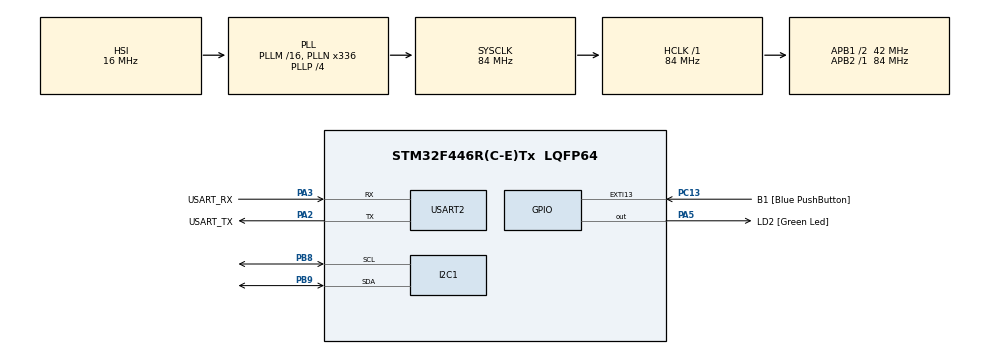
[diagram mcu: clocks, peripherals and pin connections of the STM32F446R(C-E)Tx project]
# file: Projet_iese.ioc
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I2C1.I2C_Mode=I2C_Fast
Mcu.Family=STM32F4
Mcu.Name=STM32F446R(C-E)Tx
Mcu.Package=LQFP64
NVIC.PriorityGroup=NVIC_PRIORITYGROUP_0
PA13.GPIO_Label=TMS
PA13.Mode=Serial_Wire
PA13.Signal=SYS_JTMS-SWDIO
PA14.GPIO_Label=TCK
PA14.Mode=Serial_Wire
PA14.Signal=SYS_JTCK-SWCLK
PA2.GPIO_Label=USART_TX
PA2.Mode=Asynchronous
PA2.Signal=USART2_TX
PA3.GPIO_Label=USART_RX
PA3.Mode=Asynchronous
PA3.Signal=USART2_RX
PA5.GPIO_Label=LD2 [Green Led]
PA5.Signal=GPIO_Output
PB3.GPIO_Label=SWO
PB3.Signal=SYS_JTDO-SWO
PB8.Mode=I2C
PB8.Signal=I2C1_SCL
PB9.Mode=I2C
PB9.Signal=I2C1_SDA
PC13.GPIO_Label=B1 [Blue PushButton]
PC13.GPIO_ModeDefaultEXTI=GPIO_MODE_IT_FALLING
PC13.Signal=GPXTI13
PC14-OSC32_IN.Mode=LSE-External-Oscillator
PC14-OSC32_IN.Signal=RCC_OSC32_IN
PC15-OSC32_OUT.Mode=LSE-External-Oscillator
PC15-OSC32_OUT.Signal=RCC_OSC32_OUT
PH0-OSC_IN.Mode=HSE-External-Oscillator
PH0-OSC_IN.Signal=RCC_OSC_IN
PH1-OSC_OUT.Mode=HSE-External-Oscillator
PH1-OSC_OUT.Signal=RCC_OSC_OUT
ProjectManager.HeapSize=0x200
ProjectManager.StackSize=0x400
ProjectManager.TargetToolchain=STM32CubeIDE
RCC.48MHZClocksFreq_Value=84000000
RCC.AHBFreq_Value=84000000
RCC.APB1CLKDivider=RCC_HCLK_DIV2
RCC.APB1Freq_Value=42000000
RCC.APB1TimFreq_Value=84000000
RCC.APB2Freq_Value=84000000
RCC.APB2TimFreq_Value=84000000
RCC.CortexFreq_Value=84000000
RCC.FLatency-AdvancedSettings=FLASH_LATENCY_2
RCC.HCLKFreq_Value=84000000
RCC.HSE_VALUE=8000000
RCC.HSI_VALUE=16000000
RCC.PLLN=336
RCC.PLLP=RCC_PLLP_DIV4
RCC.SYSCLKFreq_VALUE=84000000
RCC.SYSCLKSource=RCC_SYSCLKSOURCE_PLLCLK
RCC.USBFreq_Value=168000000
RCC.VCOOutputFreq_Value=336000000
USART2.VirtualMode=VM_ASYNC
board=NUCLEO-F446RE

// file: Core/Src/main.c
/* USER CODE BEGIN Header */
/*VILLETTE Lou-Anne & CALDEIRA Quentin*/
/* USER CODE END Header */
#include "main.h"
#include "i2c.h"
#include "usart.h"
#include "gpio.h"
#include <math.h>

/* USER CODE BEGIN PD */
#define ACC_ADR 		0x32 //Adresse i2c de l'acceloremetre
#define MAG_ADR 		0x3C //Adresse i2c du magnetometre
#define WHO_AM_I_A 		0x0F//Adresse contenant le WHOAMI de ACC
#define WHO_AM_I_M		0x4F//Adresse contenant le WHOAMI de MAG

#define CTRL_REG1_A 	0x20//Valeur contenant le premier registre de controle de ACC. Les autres ne sont pas nécessaires car nous allons faire une écriture multiple
#define CTRL_REG5_A 	0x24//Valeur contenant le registre 5 de controle de ACC, permettant le REBOOT
#define OUT_X_L_A		0x28//Valeur contenant le registre de sortie des valeurs de ACC

#define CTRL_REG_A_M 	0x60//Valeur contenant le premier registre de controle de MAG. Les autres ne sont pas nécessaires car nous allons faire une écriture multiple
#define	OUTX_L_REG_M	0x68//Valeur contenant registre de sortie des valeurs de MAG

#define SUB_INCREMENT   0x80//Masque pour autoriser l'incrément des sous registres (écriture multiple)

/* USER CODE END PD */

/* USER CODE BEGIN PV */
//structure contenant les axes en INT
struct data_meas {
  int16_t X;
  int16_t Y;
  int16_t Z;
};

//structure contenant les axes en FLOAT
struct data_real {
  float X;
  float Y;
  float Z;
};

//structure contenant les angles en FLOAT
struct angle {
  float theta;
  float psi;
  float phi;
  float delta;
};

/* USER CODE END PV */

void SystemClock_Config(void);

/* USER CODE BEGIN 0 */

/*------------Fonction permettant de relier le printf et l'uart---------------*/
int __io_putchar(int ch) {
	uint8_t c = ch & 0x00FF;
	HAL_UART_Transmit(&huart2, &c, 1, 10);
	return ch;
}
/*----------------------------------------------------------------------------*/

/*---Fonction permettant d'attester la présence du magneto et de l'accelero---*/
int who_am_i_sensors(){
	uint8_t buf[1];                                                              //Buffer de 1 octet car on ne lit que une case mémoire
	HAL_StatusTypeDef ret;                                                       //Variable HAL permettant de voir l'état de la transmission I2C
	buf[0] = WHO_AM_I_A;                                                         //On affecte l'adresse de la case mémoire stockant WHOAMI pour l'accelero
	ret = HAL_I2C_Master_Transmit(&hi2c1, ACC_ADR, buf, 1, HAL_MAX_DELAY);       //On effectue la transmission sur l'accelero
	if ( ret != HAL_OK ) {                                                       //Si la transmission s'est mal passée, on affiche une erreur
		printf("Error Tx\r\n");
	}
	else {
	    ret = HAL_I2C_Master_Receive(&hi2c1, ACC_ADR, buf, 1, HAL_MAX_DELAY);     //Sinon, on recupere la valeur dans la case memoire
	    if ( ret != HAL_OK ) {                                                    //Si la réception s'est mal passée, on affiche une erreur
	      printf("Error Rx\r\n");
	    }
	    else {
	    	if ( buf[0]==0x33 ) {                                                 //On teste si la valeur présente dans la case memoire est identique à celle indiquée dans la doc
	        printf("Detection de accelerometre \n\r");
	    	}
	    }
  }
  buf[0] = WHO_AM_I_M;                                                             //On affecte l'adresse de la case mémoire du WHOAMI pour le magneto
  ret = HAL_I2C_Master_Transmit(&hi2c1, MAG_ADR, buf, 1, HAL_MAX_DELAY);           //On effectue la transmission sur le magneto
  if ( ret != HAL_OK ) {                                                           //Si la transmission s'est mal passée, on affiche une erreur
	  printf("Error Tx\r\n");
  }
  else {
  	ret = HAL_I2C_Master_Receive(&hi2c1, MAG_ADR, buf, 1, HAL_MAX_DELAY);          //Sinon, on recupere la valeur dans la case memoire
  	if ( ret != HAL_OK ) {                                                          //Si la réception s'est mal passée, on affiche une erreur
  	  printf("Error Rx\r\n");
  	}
    else {
    	if ( buf[0]==0x40 ) {                                                        //On teste si la valeur présente dans la case memoire est identique à celle indiquée dans la doc
    		printf("Detection de magneto \n\r");
    	}
    }
  }
}

int reset_acc(){
	uint8_t buf[2];																	//Buffer de 2 octets car on dirige la mémoire puis on écrit une valeur
	HAL_StatusTypeDef ret;
	buf[0] = CTRL_REG5_A;  															//L'adresse où écrire sera CTRL_REG_5
 	buf[1]=0x80;  																	//Data de reset, 1 logique sur BOOT
	ret = HAL_I2C_Master_Transmit(&hi2c1, ACC_ADR, buf, 2, HAL_MAX_DELAY);			//On teste si la transmission se passe bien
	if ( ret != HAL_OK ) {
		printf("Error Tx\r\n");														//Si elle se passe mal, on met une erreur
	}
}

int config_acc(){
	HAL_StatusTypeDef ret;
	uint8_t buf[6] ;																//Buffer de 6 car on va écrire sur 6 reg d'un coup
	uint8_t res[6] ;																//Buffer permettant de vérifier si les valeurs ont bien été écrites
	buf[0]=0x27;//ODR=10Hz, Axe X Y et Z actifs
	buf[1]=0x00;//Pas de filtres
	buf[2]=0x00;//Pas d'interruptions
	buf[3]=0x00;//FS=+/-2g, SPI disabled
	buf[4]=0x00;//Valeur a mettre dans ctrm_reg_5
	buf[5]=0x00;//Pas d'interruptions
	ret = HAL_I2C_Mem_Write(&hi2c1, ACC_ADR, CTRL_REG1_A|SUB_INCREMENT, I2C_MEMADD_SIZE_8BIT, buf, 6, HAL_MAX_DELAY);
	//NOTE : SUB_INCREMENT permet d'autoriser l'incrémentation des registres en cas d'écriture multiple
	if ( ret != HAL_OK ) {
		printf("Error Tx\r\n");
	}
	ret = HAL_I2C_Mem_Read(&hi2c1, ACC_ADR, CTRL_REG1_A|SUB_INCREMENT, I2C_MEMADD_SIZE_8BIT, res, 6, HAL_MAX_DELAY);
	uint8_t i=0;
	//Ici on relit les 6 registres pour vérifier que la valeur souhaitée à bien été inscrite
	for(i=0;i<6;i++){
		if(buf[i]==res[i]){
			printf("0x%02x mis dans le registre CTRL_REG_%d_A \n\r", buf[i], i+1);
		}
		else{
			printf("Valeur mise dans le registre CTRL_REG_%d_A erronee \n\r",i+1);
		}
	}
}

int reset_mag(){
	uint8_t buf[1];
	HAL_StatusTypeDef ret;
	buf[0] = 0x60;//1 sur reboot et SOFT_RST
	ret = HAL_I2C_Mem_Write(&hi2c1, MAG_ADR, CTRL_REG_A_M, I2C_MEMADD_SIZE_8BIT, buf, 1, HAL_MAX_DELAY);
	if ( ret != HAL_OK ) {
		printf("Error Tx\r\n");
	}
}

int config_mag(){
	HAL_StatusTypeDef ret;
	uint8_t buf[3] ;															//Buffer de 3 car on va écrire sur 3 reg d'un coup
	uint8_t res[3] ;															//Buffer permettant de vérifier si les valeurs ont bien été écrites
	buf[0]=0x80;//Activation de la compensation de température, ODR=10Hz
	buf[1]=0x02;//Activation de offset cancellation
	buf[2]=0x00;//Pas de désactivation de I2C, pas d'interruption
	ret = HAL_I2C_Mem_Write(&hi2c1, MAG_ADR, CTRL_REG_A_M|SUB_INCREMENT, I2C_MEMADD_SIZE_8BIT, buf, 3, HAL_MAX_DELAY);
	if ( ret != HAL_OK ) {
		printf("Error Tx\r\n");
	}
	ret = HAL_I2C_Mem_Read(&hi2c1, MAG_ADR, CTRL_REG_A_M|SUB_INCREMENT, I2C_MEMADD_SIZE_8BIT, res, 3, HAL_MAX_DELAY);
	uint8_t i=0;
	//Ici on relit les 3 registres pour vérifier que la valeur souhaitée à bien été inscrite
	for(i=0;i<3;i++){
		if(buf[i]==res[i]){
			printf("0x%02x mis dans le registre CTRL_REG_%d_A \n\r", buf[i], i+1);
		}
		else{
			printf("Valeur mise dans le registre CTRL_REG_%d_A erronee \n\r",i+1);
		}
	}
}

void get_data(struct data_meas* acc, struct data_meas* mag){
		HAL_StatusTypeDef ret;
		uint8_t buf[6] ;
		ret = HAL_I2C_Mem_Write(&hi2c1, ACC_ADR, OUT_X_L_A, I2C_MEMADD_SIZE_8BIT, 0, 0, HAL_MAX_DELAY);//On va dans le registre contenant la sortie de ACC
		if ( ret != HAL_OK ) {
			printf("Error Tx\r\n");
		}
		ret = HAL_I2C_Mem_Read(&hi2c1, ACC_ADR, OUT_X_L_A|SUB_INCREMENT, I2C_MEMADD_SIZE_8BIT, buf, 6, HAL_MAX_DELAY);//On lit les 6 registres contenant X,Y et Z
		acc->X=(buf[1]<<8)|(buf[0]);//Les deux premiers registres lus sont l'axe X. Le 1er reg est celui de poids faible, le 2nd est celui de poids fort
		acc->Y=(buf[3]<<8)|(buf[2]);//Les deux suivants sont l'axe Y. Le 1er reg est celui de poids faible, le 2nd est celui de poids fort
		acc->Z=(buf[5]<<8)|(buf[4]);//Les deux suivants sont l'axe Z. Le 1er reg est celui de poids faible, le 2nd est celui de poids fort

		ret = HAL_I2C_Mem_Write(&hi2c1, MAG_ADR, OUTX_L_REG_M, I2C_MEMADD_SIZE_8BIT, 0, 0, HAL_MAX_DELAY);
		if ( ret != HAL_OK ) {
			printf("Error Tx\r\n");
		}
		ret = HAL_I2C_Mem_Read(&hi2c1, MAG_ADR, OUTX_L_REG_M|SUB_INCREMENT, I2C_MEMADD_SIZE_8BIT, buf, 6, HAL_MAX_DELAY);//On va dans le registre contenant la sortie de MAG
		mag->X=(buf[1]<<8)|(buf[0]);//Les deux premiers registres lus sont l'axe X. Le 1er reg est celui de poids faible, le 2nd est celui de poids fort
		mag->Y=(buf[3]<<8)|(buf[2]);//Les deux suivants sont l'axe Y. Le 1er reg est celui de poids faible, le 2nd est celui de poids fort
		mag->Z=(buf[5]<<8)|(buf[4]);//Les deux suivants sont l'axe Z. Le 1er reg est celui de poids faible, le 2nd est celui de poids fort
}

void acc_calibration(struct data_meas* acc, struct data_real* real_acc){
	//Cette fonction permet de corriger les valeurs de l'ACC. Les coefficients écrits ont été calculés à partir du tableur Excel, voir PJ
	real_acc->X=-6.025*pow(10,-5)*(acc->X+1152)+1.075*pow(10,-7)*(acc->Y-1055)+1.387*pow(10,-6)*(acc->Z-1504);
	real_acc->Y=1.299*pow(10,-6)*(acc->X+1152)-6.14*pow(10,-5)*(acc->Y-1055)+8.793*pow(10,-8)*(acc->Z-1504);
	real_acc->Z=-1.378*pow(10,-6)*(acc->X+1152)+4.689*pow(10,-7)*(acc->Y-1055)-6.001*pow(10,-5)*(acc->Z-1504);
}

void mag_calibration(struct data_meas* mag){
	//Cette fonction permet de corriger les valeurs de MAG. Les coefficients écrits ont été calculés à partir d'un tableau Excel
	  mag->X=mag->X-46;
	  mag->Y=mag->Y-88;
	  mag->Z=mag->Z-12;
}

void calcul_angle(struct angle* angle, struct data_real* acc, struct data_meas* mag){
	//Cette fonction calcule les 3 angles selon les formules données dans le poly
	//ATTENTION, atan retourne une valeur en RADIANS
	angle->theta=atan((acc->Y)/(acc->X));
	angle->psi=atan((-acc->Z)/(sqrt(acc->Y*acc->Y+acc->X*acc->X)));
	angle->delta=acos(sqrt(pow((mag->Y*acc->Z-mag->Z*acc->Y),2)+pow((mag->Z*acc->X-mag->X*acc->Z),2)+pow((mag->X*acc->Y-mag->Y*acc->X),2))/(sqrt(mag->X*mag->X+mag->Y*mag->Y+mag->Z*mag->Z)*sqrt(acc->X*acc->X+acc->Y*acc->Y+acc->Z*acc->Z)));
	angle->phi=atan((mag->X*sin(angle->theta)-mag->Y*cos(angle->theta))/(mag->Z*cos(angle->psi)+mag->Y*sin(angle->theta)*sin(angle->psi)+mag->X*cos(angle->theta)*sin(angle->psi)));
	//Conversion en degrés
	//NOTE : 57.3 = (360)/(2*pi)
	angle->theta=angle->theta*57.3;
	angle->psi=angle->psi*57.3;
	angle->delta=angle->delta*57.3;
	angle->phi=angle->phi*57.3;
}
void affich_meas(struct data_meas* acc,struct data_real* real_acc,struct data_meas* mag,struct angle* angle){
	//Affichage de toutes les valeurs
	printf("Acceleration (reelles)\r\n");
	printf("accX=%.2f\t accY=%.2f\t accZ=%.2f\r\n",real_acc->X,real_acc->Y,real_acc->Z);
	printf("Magnetometre (brutes calibrees)\r\n");
	printf("magX=%5d\t magY=%5d\t magZ=%5d\r\n",mag->X,mag->Y,mag->Z);
	printf("Angles\r\n");
	printf("theta=%.2f\t psi=%.2f\t delta=%.2f\t phi=%.2f\r \033[0;0H",angle->theta,angle->psi,angle->delta,angle->phi);
}

/*---------------------------------------------------------------------------------*/
/* USER CODE END 0 */

int main(void)
{

  /* MCU Configuration--------------------------------------------------------*/

  /* Reset of all peripherals, Initializes the Flash interface and the Systick. */
  HAL_Init();

  /* Configure the system clock */
  SystemClock_Config();

  /* Initialize all configured peripherals */
  MX_GPIO_Init();
  MX_USART2_UART_Init();
  MX_I2C1_Init();
  /* USER CODE BEGIN 2 */

  who_am_i_sensors();//Fonction qui permet dé vérifier la communication avec les capteurs
  reset_acc();//Fonction qui permet de reset les registres de Acc
  config_acc();//Fonction qui permet de régler les registres de config de Mag
  reset_mag();//Fonction qui permet de reset les registres de Acc
  config_mag();//Fonction qui permet de régler les registres de config de Mag

  struct data_meas acc;//Structure pour la valeur brute (int) de l'ACC
  struct data_meas mag;//Structure pour la valeur brute (int) et corrigée (int) de MAG
  struct data_real real_acc;//Structure pour la valeur corrigée de ACC (float)
  struct angle angle;//Structure pour la valeur des angles (float)

  /* USER CODE END 2 */

  /* Infinite loop */
  /* USER CODE BEGIN WHILE */
  printf("\033[2J");//CLEAR TERMINAL SCREEN
  while (1){
	  get_data(&acc,&mag);//Cette fonction permet d'acquérir les données
	  acc_calibration(&acc,&real_acc);//Cette fonction corrige les valeurs de ACC
	  mag_calibration(&mag);//Cette fonction corrige les valeurs de MAG
	  calcul_angle(&angle,&real_acc,&mag);//Cette fonction retourne les angles calculés
	  affich_meas(&acc,&real_acc,&mag,&angle);//Cette fonction affiche les angles
  }
}
    /* USER CODE END WHILE */

void SystemClock_Config(void)
{
  RCC_OscInitTypeDef RCC_OscInitStruct = {0};
  RCC_ClkInitTypeDef RCC_ClkInitStruct = {0};

  /** Configure the main internal regulator output voltage
  */
  __HAL_RCC_PWR_CLK_ENABLE();
  __HAL_PWR_VOLTAGESCALING_CONFIG(PWR_REGULATOR_VOLTAGE_SCALE3);

  /** Initializes the RCC Oscillators according to the specified parameters
  * in the RCC_OscInitTypeDef structure.
  */
  RCC_OscInitStruct.OscillatorType = RCC_OSCILLATORTYPE_HSI;
  RCC_OscInitStruct.HSIState = RCC_HSI_ON;
  RCC_OscInitStruct.HSICalibrationValue = RCC_HSICALIBRATION_DEFAULT;
  RCC_OscInitStruct.PLL.PLLState = RCC_PLL_ON;
  RCC_OscInitStruct.PLL.PLLSource = RCC_PLLSOURCE_HSI;
  RCC_OscInitStruct.PLL.PLLM = 16;
  RCC_OscInitStruct.PLL.PLLN = 336;
  RCC_OscInitStruct.PLL.PLLP = RCC_PLLP_DIV4;
  RCC_OscInitStruct.PLL.PLLQ = 2;
  RCC_OscInitStruct.PLL.PLLR = 2;
  if (HAL_RCC_OscConfig(&RCC_OscInitStruct) != HAL_OK)
  {
    Error_Handler();
  }

  /** Initializes the CPU, AHB and APB buses clocks
  */
  RCC_ClkInitStruct.ClockType = RCC_CLOCKTYPE_HCLK|RCC_CLOCKTYPE_SYSCLK
                              |RCC_CLOCKTYPE_PCLK1|RCC_CLOCKTYPE_PCLK2;
  RCC_ClkInitStruct.SYSCLKSource = RCC_SYSCLKSOURCE_PLLCLK;
  RCC_ClkInitStruct.AHBCLKDivider = RCC_SYSCLK_DIV1;
  RCC_ClkInitStruct.APB1CLKDivider = RCC_HCLK_DIV2;
  RCC_ClkInitStruct.APB2CLKDivider = RCC_HCLK_DIV1;

  if (HAL_RCC_ClockConfig(&RCC_ClkInitStruct, FLASH_LATENCY_2) != HAL_OK)
  {
    Error_Handler();
  }
}

void Error_Handler(void)
{
  /* USER CODE BEGIN Error_Handler_Debug */
  /* User can add his own implementation to report the HAL error return state */
  __disable_irq();
  while (1)
  {
	  printf("error i2c");
  }
  /* USER CODE END Error_Handler_Debug */
}
